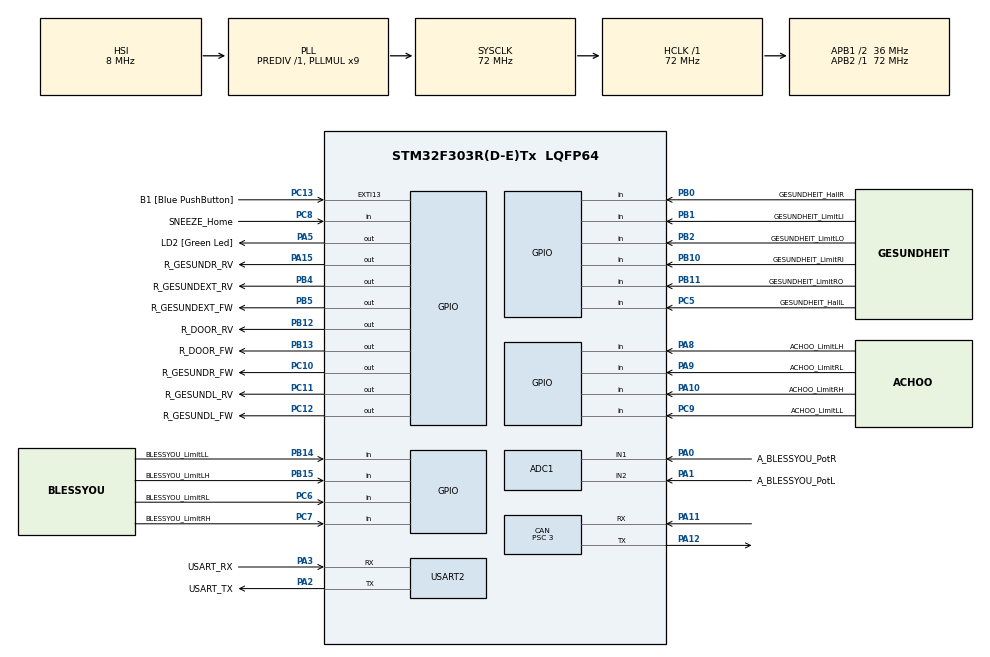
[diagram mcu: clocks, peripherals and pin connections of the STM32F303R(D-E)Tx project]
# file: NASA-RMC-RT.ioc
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ADC1.Channel-1\#ChannelRegularConversion=ADC_CHANNEL_1
ADC1.Channel-2\#ChannelRegularConversion=ADC_CHANNEL_2
ADC1.ClockPrescaler=ADC_CLOCK_ASYNC_DIV1
ADC1.ContinuousConvMode=ENABLE
ADC1.DMAContinuousRequests=ENABLE
ADC1.EOCSelection=ADC_EOC_SEQ_CONV
ADC1.NbrOfConversion=2
ADC1.NbrOfConversionFlag=1
ADC1.Offset-1\#ChannelRegularConversion=0
ADC1.Offset-2\#ChannelRegularConversion=0
ADC1.OffsetNumber-1\#ChannelRegularConversion=ADC_OFFSET_NONE
ADC1.OffsetNumber-2\#ChannelRegularConversion=ADC_OFFSET_NONE
ADC1.Rank-1\#ChannelRegularConversion=1
ADC1.Rank-2\#ChannelRegularConversion=2
ADC1.SamplingTime-1\#ChannelRegularConversion=ADC_SAMPLETIME_601CYCLES_5
ADC1.SamplingTime-2\#ChannelRegularConversion=ADC_SAMPLETIME_601CYCLES_5
ADC1.master=1
CAN.ABOM=DISABLE
CAN.BS1=CAN_BS1_10TQ
CAN.CalculateTimeQuantum=83.33333333333334
CAN.Mode=CAN_MODE_NORMAL
CAN.NART=DISABLE
CAN.Prescaler=3
CAN.RFLM=ENABLE
CAN.SJW=CAN_SJW_1TQ
CAN.TTCM=ENABLE
Dma.ADC1.0.Direction=DMA_PERIPH_TO_MEMORY
Dma.ADC1.0.Instance=DMA1_Channel1
Dma.ADC1.0.MemDataAlignment=DMA_MDATAALIGN_WORD
Dma.ADC1.0.MemInc=DMA_MINC_ENABLE
Dma.ADC1.0.Mode=DMA_CIRCULAR
Dma.ADC1.0.PeriphDataAlignment=DMA_PDATAALIGN_WORD
Dma.ADC1.0.PeriphInc=DMA_PINC_DISABLE
Dma.ADC1.0.Priority=DMA_PRIORITY_HIGH
Dma.Request0=ADC1
FREERTOS.INCLUDE_vTaskDelayUntil=1
FREERTOS.Mutexes01=canTxMutex,Static,canTxMutexControlBlock
FREERTOS.Tasks01=defaultTask,0,128,StartDefaultTask,Default,NULL,Static,defaultTaskBuffer,defaultTaskControlBlock;achooController,0,128,achooControllerFunc,As external,NULL,Static,achooControllerBuffer,achooControllerControlBlock;canRxDispatch,1,128,canRxDispatchTask,As external,NULL,Static,canRxDispatchBuffer,canRxDispatchControlBlock;gesundheitTask,0,128,gesundheitControllerFunc,As external,NULL,Static,gesundheitTaskBuffer,gesundheitTaskControlBlock;sneezeControl,0,128,sneezeControllerFunc,As external,NULL,Static,sneezeControlBuffer,sneezeControlControlBlock;blessyouControl,0,128,blessyou_controller,As external,NULL,Static,blessyouControlBuffer,blessyouControlControlBlock
FREERTOS.configUSE_PREEMPTION=0
Mcu.Family=STM32F3
Mcu.Name=STM32F303R(D-E)Tx
Mcu.Package=LQFP64
NVIC.DMA1_Channel1_IRQn=true\:5\:0\:false\:false\:true\:true\:false\:true
NVIC.PriorityGroup=NVIC_PRIORITYGROUP_4
NVIC.TIM1_UP_TIM16_IRQn=true\:0\:0\:false\:false\:true\:false\:false\:true
NVIC.TimeBase=TIM1_UP_TIM16_IRQn
NVIC.TimeBaseIP=TIM1
NVIC.USB_LP_CAN_RX0_IRQn=true\:5\:0\:false\:false\:true\:true\:true\:true
PA0.GPIO_Label=A_BLESSYOU_PotR
PA0.Mode=IN1-Single-Ended
PA0.Signal=ADC1_IN1
PA1.GPIO_Label=A_BLESSYOU_PotL
PA1.Mode=IN2-Single-Ended
PA1.Signal=ADC1_IN2
PA10.GPIO_Label=ACHOO_LimitRH
PA10.Signal=GPIO_Input
PA11.GPIO_FM8=SYSCFG_CFGR1_I2C_PB8_FMP
PA11.GPIO_PuPd=GPIO_NOPULL
PA11.Mode=Master
PA11.Signal=CAN_RX
PA12.GPIO_FM9=SYSCFG_CFGR1_I2C_PB9_FMP
PA12.GPIO_PuPd=GPIO_NOPULL
PA12.Mode=Master
PA12.Signal=CAN_TX
PA13.GPIO_Label=TMS
PA13.Mode=Serial_Wire
PA13.Signal=SYS_JTMS-SWDIO
PA14.GPIO_Label=TCK
PA14.Mode=Serial_Wire
PA14.Signal=SYS_JTCK-SWCLK
PA15.GPIO_Label=R_GESUNDR_RV
PA15.Signal=GPIO_Output
PA2.GPIO_Label=USART_TX
PA2.GPIO_Mode=GPIO_MODE_AF_PP
PA2.GPIO_PuPd=GPIO_NOPULL
PA2.GPIO_Speed=GPIO_SPEED_FREQ_LOW
PA2.Mode=Asynchronous
PA2.Signal=USART2_TX
PA3.GPIO_Label=USART_RX
PA3.GPIO_Mode=GPIO_MODE_AF_PP
PA3.GPIO_PuPd=GPIO_NOPULL
PA3.GPIO_Speed=GPIO_SPEED_FREQ_LOW
PA3.Mode=Asynchronous
PA3.Signal=USART2_RX
PA5.GPIO_Label=LD2 [Green Led]
PA5.GPIO_Mode=GPIO_MODE_OUTPUT_PP
PA5.GPIO_PuPd=GPIO_NOPULL
PA5.GPIO_Speed=GPIO_SPEED_FREQ_LOW
PA5.Signal=GPIO_Output
PA8.GPIO_Label=ACHOO_LimitLH
PA8.Signal=GPIO_Input
PA9.GPIO_Label=ACHOO_LimitRL
PA9.Signal=GPIO_Input
PB0.GPIO_Label=GESUNDHEIT_HallR
PB0.Signal=GPIO_Input
PB1.GPIO_Label=GESUNDHEIT_LimitLI
PB1.Signal=GPIO_Input
PB10.GPIO_Label=GESUNDHEIT_LimitRI
PB10.Signal=GPIO_Input
PB11.GPIO_Label=GESUNDHEIT_LimitRO
PB11.Signal=GPIO_Input
PB12.GPIO_Label=R_DOOR_RV
PB12.Signal=GPIO_Output
PB13.GPIO_Label=R_DOOR_FW
PB13.Signal=GPIO_Output
PB14.GPIO_Label=BLESSYOU_LimitLL
PB14.Signal=GPIO_Input
PB15.GPIO_Label=BLESSYOU_LimitLH
PB15.Signal=GPIO_Input
PB2.GPIO_Label=GESUNDHEIT_LimitLO
PB2.Signal=GPIO_Input
PB3.GPIO_Label=SWO
PB3.Signal=SYS_JTDO-TRACESWO
PB4.GPIO_Label=R_GESUNDEXT_RV
PB4.Signal=GPIO_Output
PB5.GPIO_Label=R_GESUNDEXT_FW
PB5.Signal=GPIO_Output
PC10.GPIO_Label=R_GESUNDR_FW
PC10.Signal=GPIO_Output
PC11.GPIO_Label=R_GESUNDL_RV
PC11.Signal=GPIO_Output
PC12.GPIO_Label=R_GESUNDL_FW
PC12.Signal=GPIO_Output
PC13.GPIO_Label=B1 [Blue PushButton]
PC13.GPIO_ModeDefaultEXTI=GPIO_MODE_IT_FALLING
PC13.Signal=GPXTI13
PC14-OSC32_IN.Mode=LSE-External-Oscillator
PC14-OSC32_IN.Signal=RCC_OSC32_IN
PC15-OSC32_OUT.Mode=LSE-External-Oscillator
PC15-OSC32_OUT.Signal=RCC_OSC32_OUT
PC5.GPIO_Label=GESUNDHEIT_HallL
PC5.Signal=GPIO_Input
PC6.GPIO_Label=BLESSYOU_LimitRL
PC6.Signal=GPIO_Input
PC7.GPIO_Label=BLESSYOU_LimitRH
PC7.Signal=GPIO_Input
PC8.GPIO_Label=SNEEZE_Home
PC8.Signal=GPIO_Input
PC9.GPIO_Label=ACHOO_LimitLL
PC9.Signal=GPIO_Input
PF0-OSC_IN.Mode=HSE-External-Clock-Source
PF0-OSC_IN.Signal=RCC_OSC_IN
PF1-OSC_OUT.Signal=RCC_OSC_OUT
ProjectManager.HeapSize=0x200
ProjectManager.StackSize=0x400
ProjectManager.TargetToolchain=SW4STM32
RCC.AHBFreq_Value=72000000
RCC.APB1CLKDivider=RCC_HCLK_DIV2
RCC.APB1Freq_Value=36000000
RCC.APB1TimFreq_Value=72000000
RCC.APB2Freq_Value=72000000
RCC.APB2TimFreq_Value=72000000
RCC.CortexFreq_Value=72000000
RCC.HCLKFreq_Value=72000000
RCC.HSE_VALUE=8000000
RCC.HSI_VALUE=8000000
RCC.PLLM=8
RCC.PLLMUL=RCC_PLL_MUL9
RCC.PLLN=336
RCC.PLLP=RCC_PLLP_DIV4
RCC.PLLQ=7
RCC.RCC_PLLsource_Clock_Source_FROM_HSE=RCC_HSE_PREDIV_DIV2
RCC.SYSCLKFreq_VALUE=72000000
RCC.SYSCLKSourceVirtual=RCC_SYSCLKSOURCE_PLLCLK
RCC.USBFreq_Value=72000000
USART2.VirtualMode-Asynchronous=VM_ASYNC
VP_FREERTOS_VS_CMSIS_V1.Mode=CMSIS_V1
VP_SYS_VS_tim1.Mode=TIM1
board=NUCLEO-F303RE

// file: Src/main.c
/* USER CODE BEGIN Header */
/**
 ******************************************************************************
 * @file           : main.c
 * @brief          : Main program body
 ******************************************************************************
 * @attention
 *
 * <h2><center>&copy; Copyright (c) 2019 STMicroelectronics.
 * All rights reserved.</center></h2>
 *
 * This software component is licensed by ST under Ultimate Liberty license
 * SLA0044, the "License"; You may not use this file except in compliance with
 * the License. You may obtain a copy of the License at:
 *                             www.st.com/SLA0044
 *
 ******************************************************************************
 */
/* USER CODE END Header */

#include "main.h"
#include "cmsis_os.h"

/* USER CODE BEGIN Includes */
#include <stdio.h>
#include "VESC.h"
#include "can_manager.h"
/* USER CODE END Includes */

ADC_HandleTypeDef hadc1;
DMA_HandleTypeDef hdma_adc1;

CAN_HandleTypeDef hcan;

UART_HandleTypeDef huart2;

osThreadId defaultTaskHandle;
uint32_t defaultTaskBuffer[128];
osStaticThreadDef_t defaultTaskControlBlock;
osThreadId achooControllerHandle;
uint32_t achooControllerBuffer[128];
osStaticThreadDef_t achooControllerControlBlock;
osThreadId canRxDispatchHandle;
uint32_t canRxDispatchBuffer[128];
osStaticThreadDef_t canRxDispatchControlBlock;
osThreadId gesundheitTaskHandle;
uint32_t gesundheitTaskBuffer[128];
osStaticThreadDef_t gesundheitTaskControlBlock;
osThreadId sneezeControlHandle;
uint32_t sneezeControlBuffer[128];
osStaticThreadDef_t sneezeControlControlBlock;
osThreadId blessyouControlHandle;
uint32_t blessyouControlBuffer[128];
osStaticThreadDef_t blessyouControlControlBlock;
osMutexId canTxMutexHandle;
osStaticMutexDef_t canTxMutexControlBlock;
/* USER CODE BEGIN PV */
QueueHandle_t xCanRxQueue;
/* USER CODE END PV */

void SystemClock_Config(void);
static void MX_GPIO_Init(void);
static void MX_USART2_UART_Init(void);
static void MX_CAN_Init(void);
static void MX_ADC1_Init(void);
static void MX_DMA_Init(void);
void StartDefaultTask(void const *argument);
extern void achooControllerFunc(void const *argument);
extern void canRxDispatchTask(void const *argument);
extern void gesundheitControllerFunc(void const *argument);
extern void sneezeControllerFunc(void const *argument);
extern void blessyou_controller(void const *argument);

int main(void) {

  /* MCU Configuration--------------------------------------------------------*/

  /* Reset of all peripherals, Initializes the Flash interface and the Systick.
   */
  HAL_Init();

  /* Configure the system clock */
  SystemClock_Config();

  /* Initialize all configured peripherals */
  MX_GPIO_Init();
  MX_USART2_UART_Init();
  MX_CAN_Init();
  MX_ADC1_Init();
  MX_DMA_Init();
  /* USER CODE BEGIN 2 */
  vesc_system_init();
  /* USER CODE END 2 */

  /* Create the mutex(es) */
  /* definition and creation of canTxMutex */
  osMutexStaticDef(canTxMutex, &canTxMutexControlBlock);
  canTxMutexHandle = osMutexCreate(osMutex(canTxMutex));

  /* USER CODE BEGIN RTOS_QUEUES */
  xCanRxQueue = xQueueCreate(8, sizeof(rmc_can_msg));
  /* USER CODE END RTOS_QUEUES */

  /* Create the thread(s) */
  /* definition and creation of defaultTask */
  osThreadStaticDef(defaultTask, StartDefaultTask, osPriorityNormal, 0, 128,
                    defaultTaskBuffer, &defaultTaskControlBlock);
  defaultTaskHandle = osThreadCreate(osThread(defaultTask), NULL);

  /* definition and creation of achooController */
  osThreadStaticDef(achooController, achooControllerFunc, osPriorityNormal, 0,
                    128, achooControllerBuffer, &achooControllerControlBlock);
  achooControllerHandle = osThreadCreate(osThread(achooController), NULL);

  /* definition and creation of canRxDispatch */
  osThreadStaticDef(canRxDispatch, canRxDispatchTask, osPriorityAboveNormal, 0,
                    128, canRxDispatchBuffer, &canRxDispatchControlBlock);
  canRxDispatchHandle = osThreadCreate(osThread(canRxDispatch), NULL);

  /* definition and creation of gesundheitTask */
  osThreadStaticDef(gesundheitTask, gesundheitControllerFunc, osPriorityNormal,
                    0, 128, gesundheitTaskBuffer, &gesundheitTaskControlBlock);
  gesundheitTaskHandle = osThreadCreate(osThread(gesundheitTask), NULL);

  /* definition and creation of sneezeControl */
  osThreadStaticDef(sneezeControl, sneezeControllerFunc, osPriorityNormal, 0,
                    128, sneezeControlBuffer, &sneezeControlControlBlock);
  sneezeControlHandle = osThreadCreate(osThread(sneezeControl), NULL);

  /* definition and creation of blessyouControl */
  osThreadStaticDef(blessyouControl, blessyou_controller, osPriorityNormal, 0,
                    128, blessyouControlBuffer, &blessyouControlControlBlock);
  blessyouControlHandle = osThreadCreate(osThread(blessyouControl), NULL);

  /* Start scheduler */
  osKernelStart();

  /* We should never get here as control is now taken by the scheduler */

  /* Infinite loop */
  while (1) {

  }
}

void SystemClock_Config(void) {
  RCC_OscInitTypeDef RCC_OscInitStruct = {0};
  RCC_ClkInitTypeDef RCC_ClkInitStruct = {0};
  RCC_PeriphCLKInitTypeDef PeriphClkInit = {0};

  /** Initializes the CPU, AHB and APB busses clocks
   */
  RCC_OscInitStruct.OscillatorType = RCC_OSCILLATORTYPE_HSI;
  RCC_OscInitStruct.HSIState = RCC_HSI_ON;
  RCC_OscInitStruct.HSICalibrationValue = RCC_HSICALIBRATION_DEFAULT;
  RCC_OscInitStruct.PLL.PLLState = RCC_PLL_ON;
  RCC_OscInitStruct.PLL.PLLSource = RCC_PLLSOURCE_HSI;
  RCC_OscInitStruct.PLL.PLLMUL = RCC_PLL_MUL9;
  RCC_OscInitStruct.PLL.PREDIV = RCC_PREDIV_DIV1;
  if (HAL_RCC_OscConfig(&RCC_OscInitStruct) != HAL_OK) {
    Error_Handler();
  }
  /** Initializes the CPU, AHB and APB busses clocks
   */
  RCC_ClkInitStruct.ClockType = RCC_CLOCKTYPE_HCLK | RCC_CLOCKTYPE_SYSCLK |
                                RCC_CLOCKTYPE_PCLK1 | RCC_CLOCKTYPE_PCLK2;
  RCC_ClkInitStruct.SYSCLKSource = RCC_SYSCLKSOURCE_PLLCLK;
  RCC_ClkInitStruct.AHBCLKDivider = RCC_SYSCLK_DIV1;
  RCC_ClkInitStruct.APB1CLKDivider = RCC_HCLK_DIV2;
  RCC_ClkInitStruct.APB2CLKDivider = RCC_HCLK_DIV1;

  if (HAL_RCC_ClockConfig(&RCC_ClkInitStruct, FLASH_LATENCY_2) != HAL_OK) {
    Error_Handler();
  }
  PeriphClkInit.PeriphClockSelection =
      RCC_PERIPHCLK_USART2 | RCC_PERIPHCLK_ADC12;
  PeriphClkInit.Usart2ClockSelection = RCC_USART2CLKSOURCE_PCLK1;
  PeriphClkInit.Adc12ClockSelection = RCC_ADC12PLLCLK_DIV1;
  if (HAL_RCCEx_PeriphCLKConfig(&PeriphClkInit) != HAL_OK) {
    Error_Handler();
  }
}

static void MX_ADC1_Init(void) {

  ADC_MultiModeTypeDef multimode = {0};
  ADC_ChannelConfTypeDef sConfig = {0};

  /** Common config
   */
  hadc1.Instance = ADC1;
  hadc1.Init.ClockPrescaler = ADC_CLOCK_ASYNC_DIV1;
  hadc1.Init.Resolution = ADC_RESOLUTION_12B;
  hadc1.Init.ScanConvMode = ADC_SCAN_ENABLE;
  hadc1.Init.ContinuousConvMode = ENABLE;
  hadc1.Init.DiscontinuousConvMode = DISABLE;
  hadc1.Init.ExternalTrigConvEdge = ADC_EXTERNALTRIGCONVEDGE_NONE;
  hadc1.Init.ExternalTrigConv = ADC_SOFTWARE_START;
  hadc1.Init.DataAlign = ADC_DATAALIGN_RIGHT;
  hadc1.Init.NbrOfConversion = 2;
  hadc1.Init.DMAContinuousRequests = ENABLE;
  hadc1.Init.EOCSelection = ADC_EOC_SEQ_CONV;
  hadc1.Init.LowPowerAutoWait = DISABLE;
  hadc1.Init.Overrun = ADC_OVR_DATA_OVERWRITTEN;
  if (HAL_ADC_Init(&hadc1) != HAL_OK) {
    Error_Handler();
  }
  /** Configure the ADC multi-mode
   */
  multimode.Mode = ADC_MODE_INDEPENDENT;
  if (HAL_ADCEx_MultiModeConfigChannel(&hadc1, &multimode) != HAL_OK) {
    Error_Handler();
  }
  /** Configure Regular Channel
   */
  sConfig.Channel = ADC_CHANNEL_1;
  sConfig.Rank = ADC_REGULAR_RANK_1;
  sConfig.SingleDiff = ADC_SINGLE_ENDED;
  sConfig.SamplingTime = ADC_SAMPLETIME_601CYCLES_5;
  sConfig.OffsetNumber = ADC_OFFSET_NONE;
  sConfig.Offset = 0;
  if (HAL_ADC_ConfigChannel(&hadc1, &sConfig) != HAL_OK) {
    Error_Handler();
  }
  /** Configure Regular Channel
   */
  sConfig.Channel = ADC_CHANNEL_2;
  sConfig.Rank = ADC_REGULAR_RANK_2;
  if (HAL_ADC_ConfigChannel(&hadc1, &sConfig) != HAL_OK) {
    Error_Handler();
  }
}

static void MX_CAN_Init(void) {

  hcan.Instance = CAN;
  hcan.Init.Prescaler = 3;
  hcan.Init.Mode = CAN_MODE_NORMAL;
  hcan.Init.SyncJumpWidth = CAN_SJW_1TQ;
  hcan.Init.TimeSeg1 = CAN_BS1_10TQ;
  hcan.Init.TimeSeg2 = CAN_BS2_1TQ;
  hcan.Init.TimeTriggeredMode = ENABLE;
  hcan.Init.AutoBusOff = DISABLE;
  hcan.Init.AutoWakeUp = DISABLE;
  hcan.Init.AutoRetransmission = DISABLE;
  hcan.Init.ReceiveFifoLocked = ENABLE;
  hcan.Init.TransmitFifoPriority = DISABLE;
  if (HAL_CAN_Init(&hcan) != HAL_OK) {
    Error_Handler();
  }
  /* USER CODE BEGIN CAN_Init 2 */
  CAN_FilterTypeDef sFilterConfig;
  sFilterConfig.FilterBank = 0;
  sFilterConfig.FilterMode = CAN_FILTERMODE_IDMASK;
  sFilterConfig.FilterScale = CAN_FILTERSCALE_32BIT;
  sFilterConfig.FilterIdHigh = 0x0000;
  sFilterConfig.FilterIdLow = 0x0000;
  sFilterConfig.FilterMaskIdHigh = 0x0000;
  sFilterConfig.FilterMaskIdLow = 0x0000;
  sFilterConfig.FilterFIFOAssignment = CAN_RX_FIFO0;
  sFilterConfig.FilterActivation = ENABLE;
  sFilterConfig.SlaveStartFilterBank = 15;

  if (HAL_CAN_ConfigFilter(&hcan, &sFilterConfig) != HAL_OK) {
    Error_Handler();
  }
  if (HAL_CAN_Start(&hcan) != HAL_OK) {
    /* Start Error */
    Error_Handler();
  }

  if (HAL_CAN_ActivateNotification(&hcan, CAN_IT_RX_FIFO0_MSG_PENDING) !=
      HAL_OK) {
    Error_Handler();
  }

  /* USER CODE END CAN_Init 2 */
}

static void MX_USART2_UART_Init(void) {

  huart2.Instance = USART2;
  huart2.Init.BaudRate = 38400;
  huart2.Init.WordLength = UART_WORDLENGTH_8B;
  huart2.Init.StopBits = UART_STOPBITS_1;
  huart2.Init.Parity = UART_PARITY_NONE;
  huart2.Init.Mode = UART_MODE_TX_RX;
  huart2.Init.HwFlowCtl = UART_HWCONTROL_NONE;
  huart2.Init.OverSampling = UART_OVERSAMPLING_16;
  huart2.Init.OneBitSampling = UART_ONE_BIT_SAMPLE_DISABLE;
  huart2.AdvancedInit.AdvFeatureInit = UART_ADVFEATURE_NO_INIT;
  if (HAL_UART_Init(&huart2) != HAL_OK) {
    Error_Handler();
  }
}

static void MX_DMA_Init(void) {
  /* DMA controller clock enable */
  __HAL_RCC_DMA1_CLK_ENABLE();

  /* DMA interrupt init */
  /* DMA1_Channel1_IRQn interrupt configuration */
  HAL_NVIC_SetPriority(DMA1_Channel1_IRQn, 5, 0);
  HAL_NVIC_EnableIRQ(DMA1_Channel1_IRQn);
}

static void MX_GPIO_Init(void) {
  GPIO_InitTypeDef GPIO_InitStruct = {0};

  /* GPIO Ports Clock Enable */
  __HAL_RCC_GPIOC_CLK_ENABLE();
  __HAL_RCC_GPIOF_CLK_ENABLE();
  __HAL_RCC_GPIOA_CLK_ENABLE();
  __HAL_RCC_GPIOB_CLK_ENABLE();

  /*Configure GPIO pin Output Level */
  HAL_GPIO_WritePin(GPIOA, LD2_Pin | R_GESUNDR_RV_Pin, GPIO_PIN_RESET);

  /*Configure GPIO pin Output Level */
  HAL_GPIO_WritePin(
      GPIOB,
      R_DOOR_RV_Pin | R_DOOR_FW_Pin | R_GESUNDEXT_RV_Pin | R_GESUNDEXT_FW_Pin,
      GPIO_PIN_RESET);

  /*Configure GPIO pin Output Level */
  HAL_GPIO_WritePin(GPIOC,
                    R_GESUNDR_FW_Pin | R_GESUNDL_RV_Pin | R_GESUNDL_FW_Pin,
                    GPIO_PIN_RESET);

  /*Configure GPIO pin : B1_Pin */
  GPIO_InitStruct.Pin = B1_Pin;
  GPIO_InitStruct.Mode = GPIO_MODE_IT_FALLING;
  GPIO_InitStruct.Pull = GPIO_NOPULL;
  HAL_GPIO_Init(B1_GPIO_Port, &GPIO_InitStruct);

  /*Configure GPIO pins : LD2_Pin R_GESUNDR_RV_Pin */
  GPIO_InitStruct.Pin = LD2_Pin | R_GESUNDR_RV_Pin;
  GPIO_InitStruct.Mode = GPIO_MODE_OUTPUT_PP;
  GPIO_InitStruct.Pull = GPIO_NOPULL;
  GPIO_InitStruct.Speed = GPIO_SPEED_FREQ_LOW;
  HAL_GPIO_Init(GPIOA, &GPIO_InitStruct);

  /*Configure GPIO pins : GESUNDHEIT_HallL_Pin BLESSYOU_LimitRL_Pin
     BLESSYOU_LimitRH_Pin SNEEZE_Home_Pin ACHOO_LimitLL_Pin */
  GPIO_InitStruct.Pin = GESUNDHEIT_HallL_Pin | BLESSYOU_LimitRL_Pin |
                        BLESSYOU_LimitRH_Pin | SNEEZE_Home_Pin |
                        ACHOO_LimitLL_Pin;
  GPIO_InitStruct.Mode = GPIO_MODE_INPUT;
  GPIO_InitStruct.Pull = GPIO_NOPULL;
  HAL_GPIO_Init(GPIOC, &GPIO_InitStruct);

  /*Configure GPIO pins : GESUNDHEIT_HallR_Pin GESUNDHEIT_LimitLI_Pin
     GESUNDHEIT_LimitLO_Pin GESUNDHEIT_LimitRI_Pin GESUNDHEIT_LimitRO_Pin
     BLESSYOU_LimitLL_Pin BLESSYOU_LimitLH_Pin */
  GPIO_InitStruct.Pin = GESUNDHEIT_HallR_Pin | GESUNDHEIT_LimitLI_Pin |
                        GESUNDHEIT_LimitLO_Pin | GESUNDHEIT_LimitRI_Pin |
                        GESUNDHEIT_LimitRO_Pin | BLESSYOU_LimitLL_Pin |
                        BLESSYOU_LimitLH_Pin;
  GPIO_InitStruct.Mode = GPIO_MODE_INPUT;
  GPIO_InitStruct.Pull = GPIO_NOPULL;
  HAL_GPIO_Init(GPIOB, &GPIO_InitStruct);

  /*Configure GPIO pins : R_DOOR_RV_Pin R_DOOR_FW_Pin R_GESUNDEXT_RV_Pin
   * R_GESUNDEXT_FW_Pin */
  GPIO_InitStruct.Pin =
      R_DOOR_RV_Pin | R_DOOR_FW_Pin | R_GESUNDEXT_RV_Pin | R_GESUNDEXT_FW_Pin;
  GPIO_InitStruct.Mode = GPIO_MODE_OUTPUT_PP;
  GPIO_InitStruct.Pull = GPIO_NOPULL;
  GPIO_InitStruct.Speed = GPIO_SPEED_FREQ_LOW;
  HAL_GPIO_Init(GPIOB, &GPIO_InitStruct);

  /*Configure GPIO pins : ACHOO_LimitLH_Pin ACHOO_LimitRL_Pin ACHOO_LimitRH_Pin
   */
  GPIO_InitStruct.Pin =
      ACHOO_LimitLH_Pin | ACHOO_LimitRL_Pin | ACHOO_LimitRH_Pin;
  GPIO_InitStruct.Mode = GPIO_MODE_INPUT;
  GPIO_InitStruct.Pull = GPIO_NOPULL;
  HAL_GPIO_Init(GPIOA, &GPIO_InitStruct);

  /*Configure GPIO pins : R_GESUNDR_FW_Pin R_GESUNDL_RV_Pin R_GESUNDL_FW_Pin */
  GPIO_InitStruct.Pin = R_GESUNDR_FW_Pin | R_GESUNDL_RV_Pin | R_GESUNDL_FW_Pin;
  GPIO_InitStruct.Mode = GPIO_MODE_OUTPUT_PP;
  GPIO_InitStruct.Pull = GPIO_NOPULL;
  GPIO_InitStruct.Speed = GPIO_SPEED_FREQ_LOW;
  HAL_GPIO_Init(GPIOC, &GPIO_InitStruct);
}

void StartDefaultTask(void const *argument) {
  for (;;) {
    osDelay(1);
  }
}

void HAL_TIM_PeriodElapsedCallback(TIM_HandleTypeDef *htim) {
  if (htim->Instance == TIM1) {
    HAL_IncTick();
  }
}

void Error_Handler(void) {
  /* USER CODE BEGIN Error_Handler_Debug */
  unsigned int err = hcan.ErrorCode;
  // for (;;);

  /* USER CODE END Error_Handler_Debug */
}

#ifdef USE_FULL_ASSERT
/**
 * @brief  Reports the name of the source file and the source line number
 *         where the assert_param error has occurred.
 * @param  file: pointer to the source file name
 * @param  line: assert_param error line source number
 * @retval None
 */
void assert_failed(char *file, uint32_t line) {
  /* USER CODE BEGIN 6 */
  /* User can add his own implementation to report the file name and line
     number,
     tex: printf("Wrong parameters value: file %s on line %d\r\n", file, line)
   */
  /* USER CODE END 6 */
}
#endif /* USE_FULL_ASSERT */

/************************ (C) COPYRIGHT STMicroelectronics *****END OF FILE****/

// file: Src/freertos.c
/* USER CODE BEGIN Header */
/**
 ******************************************************************************
 * File Name          : freertos.c
 * Description        : Code for freertos applications
 ******************************************************************************
 * @attention
 *
 * <h2><center>&copy; Copyright (c) 2019 STMicroelectronics.
 * All rights reserved.</center></h2>
 *
 * This software component is licensed by ST under Ultimate Liberty license
 * SLA0044, the "License"; You may not use this file except in compliance with
 * the License. You may obtain a copy of the License at:
 *                             www.st.com/SLA0044
 *
 ******************************************************************************
 */
/* USER CODE END Header */

#include "FreeRTOS.h"
#include "task.h"
#include "main.h"

/* GetIdleTaskMemory prototype (linked to static allocation support) */
void vApplicationGetIdleTaskMemory( StaticTask_t **ppxIdleTaskTCBBuffer, StackType_t **ppxIdleTaskStackBuffer, uint32_t *pulIdleTaskStackSize );

/* USER CODE BEGIN GET_IDLE_TASK_MEMORY */
static StaticTask_t xIdleTaskTCBBuffer;
static StackType_t xIdleStack[configMINIMAL_STACK_SIZE];

void vApplicationGetIdleTaskMemory(StaticTask_t **ppxIdleTaskTCBBuffer,
                                   StackType_t **ppxIdleTaskStackBuffer,
                                   uint32_t *pulIdleTaskStackSize) {
  *ppxIdleTaskTCBBuffer = &xIdleTaskTCBBuffer;
  *ppxIdleTaskStackBuffer = &xIdleStack[0];
  *pulIdleTaskStackSize = configMINIMAL_STACK_SIZE;
  /* place for user code */
}
/* USER CODE END GET_IDLE_TASK_MEMORY */

/************************ (C) COPYRIGHT STMicroelectronics *****END OF FILE****/
